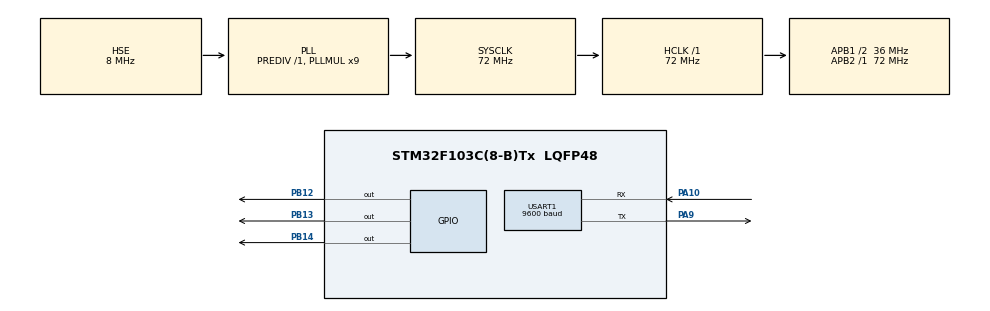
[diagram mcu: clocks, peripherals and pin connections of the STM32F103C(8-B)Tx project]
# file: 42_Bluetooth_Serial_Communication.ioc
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Mcu.Family=STM32F1
Mcu.Name=STM32F103C(8-B)Tx
Mcu.Package=LQFP48
NVIC.PriorityGroup=NVIC_PRIORITYGROUP_4
PA10.Mode=Asynchronous
PA10.Signal=USART1_RX
PA13.Mode=Serial_Wire
PA13.Signal=SYS_JTMS-SWDIO
PA14.Mode=Serial_Wire
PA14.Signal=SYS_JTCK-SWCLK
PA9.Mode=Asynchronous
PA9.Signal=USART1_TX
PB12.Signal=GPIO_Output
PB13.Signal=GPIO_Output
PB14.Signal=GPIO_Output
PD0-OSC_IN.Mode=HSE-External-Oscillator
PD0-OSC_IN.Signal=RCC_OSC_IN
PD1-OSC_OUT.Mode=HSE-External-Oscillator
PD1-OSC_OUT.Signal=RCC_OSC_OUT
ProjectManager.HeapSize=0x200
ProjectManager.StackSize=0x400
ProjectManager.TargetToolchain=MDK-ARM V5.32
RCC.AHBFreq_Value=72000000
RCC.APB1CLKDivider=RCC_HCLK_DIV2
RCC.APB1Freq_Value=36000000
RCC.APB1TimFreq_Value=72000000
RCC.APB2Freq_Value=72000000
RCC.APB2TimFreq_Value=72000000
RCC.HCLKFreq_Value=72000000
RCC.PLLMUL=RCC_PLL_MUL9
RCC.PLLSourceVirtual=RCC_PLLSOURCE_HSE
RCC.SYSCLKFreq_VALUE=72000000
RCC.SYSCLKSource=RCC_SYSCLKSOURCE_PLLCLK
RCC.USBFreq_Value=72000000
USART1.BaudRate=9600
USART1.VirtualMode=VM_ASYNC
board=custom

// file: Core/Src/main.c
/* USER CODE BEGIN Header */
/**
 ******************************************************************************
 * @file           : main.c
 * @brief          : Main program body
 ******************************************************************************
 * @attention
 *
 * Copyright (c) 2026 STMicroelectronics.
 * All rights reserved.
 *
 * This software is licensed under terms that can be found in the LICENSE file
 * in the root directory of this software component.
 * If no LICENSE file comes with this software, it is provided AS-IS.
 *
 ******************************************************************************
 */
/* USER CODE END Header */
#include "main.h"
#include "usart.h"
#include "gpio.h"

/* USER CODE BEGIN Includes */
#include <string.h>
/* USER CODE END Includes */

/* USER CODE BEGIN PV */
/*
 * @brief  RGB灯控制函数.
 * @param  red: 红色分量，1为亮，0为灭.
 * @param  green: 绿色分量，1为亮，0为灭.
 * @param  blue: 蓝色分量，1为亮，0为灭.
 * @retval 无
 */

void RGB_Control(uint8_t red, uint8_t green, uint8_t blue)
{
  if (red)
  {
    HAL_GPIO_WritePin(GPIOB, GPIO_PIN_12, GPIO_PIN_SET); // 红灯亮
  }
  else
  {
    HAL_GPIO_WritePin(GPIOB, GPIO_PIN_12, GPIO_PIN_RESET); // 红灯灭
  }
  if (green)
  {
    HAL_GPIO_WritePin(GPIOB, GPIO_PIN_13, GPIO_PIN_SET); // 绿灯亮
  }
  else
  {
    HAL_GPIO_WritePin(GPIOB, GPIO_PIN_13, GPIO_PIN_RESET); // 绿灯灭
  }
  if (blue)
  {
    HAL_GPIO_WritePin(GPIOB, GPIO_PIN_14, GPIO_PIN_SET); // 蓝灯亮
  }
  else
  {
    HAL_GPIO_WritePin(GPIOB, GPIO_PIN_14, GPIO_PIN_RESET); // 蓝灯灭
  }
}

/*
 * @brief  串口接收完成回调函数.
 * @param  huart: UART句柄.
 * @retval 无
 */
void HAL_UART_RxCpltCallback(UART_HandleTypeDef *huart)
{
  if (huart->Instance == USART1) // 判断是否是 USART1 的中断
  {
    switch (rx_data)
    {
    case '0':
      RGB_Control(0, 0, 0); // 关闭RGB灯
      break;
    case '1':
      RGB_Control(1, 0, 0); // 打开RGB灯
      break;
    case '2':
      RGB_Control(0, 1, 0); // 打开Green灯
      break;
    case '3':
      RGB_Control(0, 0, 1); // 打开Blue灯
      break;
    case '4':
      RGB_Control(1, 1, 0); // 打开Red和Green灯
      break;
    case '5':
      RGB_Control(1, 0, 1); // 打开Red和Blue灯
      break;
    case '6':
      RGB_Control(0, 1, 1); // 打开Green和Blue灯
      break;
    case '7':
      RGB_Control(1, 1, 1); // 打开Red、Green和Blue灯
      break;
    }
  }
  // 重新启动接收中断，准备接收下一个数据
  HAL_UART_Receive_IT(huart, &rx_data, sizeof(rx_data));
}

/* USER CODE END PV */

void SystemClock_Config(void);

/* USER CODE BEGIN 0 */
uint8_t rx_data = 0;

/* USER CODE END 0 */

int main(void)
{

  /* MCU Configuration--------------------------------------------------------*/

  /* Reset of all peripherals, Initializes the Flash interface and the Systick. */
  HAL_Init();

  /* Configure the system clock */
  SystemClock_Config();

  /* Initialize all configured peripherals */
  MX_GPIO_Init();
  MX_USART1_UART_Init();
  /* USER CODE BEGIN 2 */
  HAL_UART_Receive_IT(&huart1, &rx_data, sizeof(rx_data)); // 串口接收中断初始化

  /* USER CODE END 2 */

  /* Infinite loop */
  while (1)
  {

  }
}

void SystemClock_Config(void)
{
  RCC_OscInitTypeDef RCC_OscInitStruct = {0};
  RCC_ClkInitTypeDef RCC_ClkInitStruct = {0};

  /** Initializes the RCC Oscillators according to the specified parameters
   * in the RCC_OscInitTypeDef structure.
   */
  RCC_OscInitStruct.OscillatorType = RCC_OSCILLATORTYPE_HSE;
  RCC_OscInitStruct.HSEState = RCC_HSE_ON;
  RCC_OscInitStruct.HSEPredivValue = RCC_HSE_PREDIV_DIV1;
  RCC_OscInitStruct.HSIState = RCC_HSI_ON;
  RCC_OscInitStruct.PLL.PLLState = RCC_PLL_ON;
  RCC_OscInitStruct.PLL.PLLSource = RCC_PLLSOURCE_HSE;
  RCC_OscInitStruct.PLL.PLLMUL = RCC_PLL_MUL9;
  if (HAL_RCC_OscConfig(&RCC_OscInitStruct) != HAL_OK)
  {
    Error_Handler();
  }

  /** Initializes the CPU, AHB and APB buses clocks
   */
  RCC_ClkInitStruct.ClockType = RCC_CLOCKTYPE_HCLK | RCC_CLOCKTYPE_SYSCLK | RCC_CLOCKTYPE_PCLK1 | RCC_CLOCKTYPE_PCLK2;
  RCC_ClkInitStruct.SYSCLKSource = RCC_SYSCLKSOURCE_PLLCLK;
  RCC_ClkInitStruct.AHBCLKDivider = RCC_SYSCLK_DIV1;
  RCC_ClkInitStruct.APB1CLKDivider = RCC_HCLK_DIV2;
  RCC_ClkInitStruct.APB2CLKDivider = RCC_HCLK_DIV1;

  if (HAL_RCC_ClockConfig(&RCC_ClkInitStruct, FLASH_LATENCY_2) != HAL_OK)
  {
    Error_Handler();
  }
}

void Error_Handler(void)
{
  __disable_irq();
  while (1)
  {
  }
}
